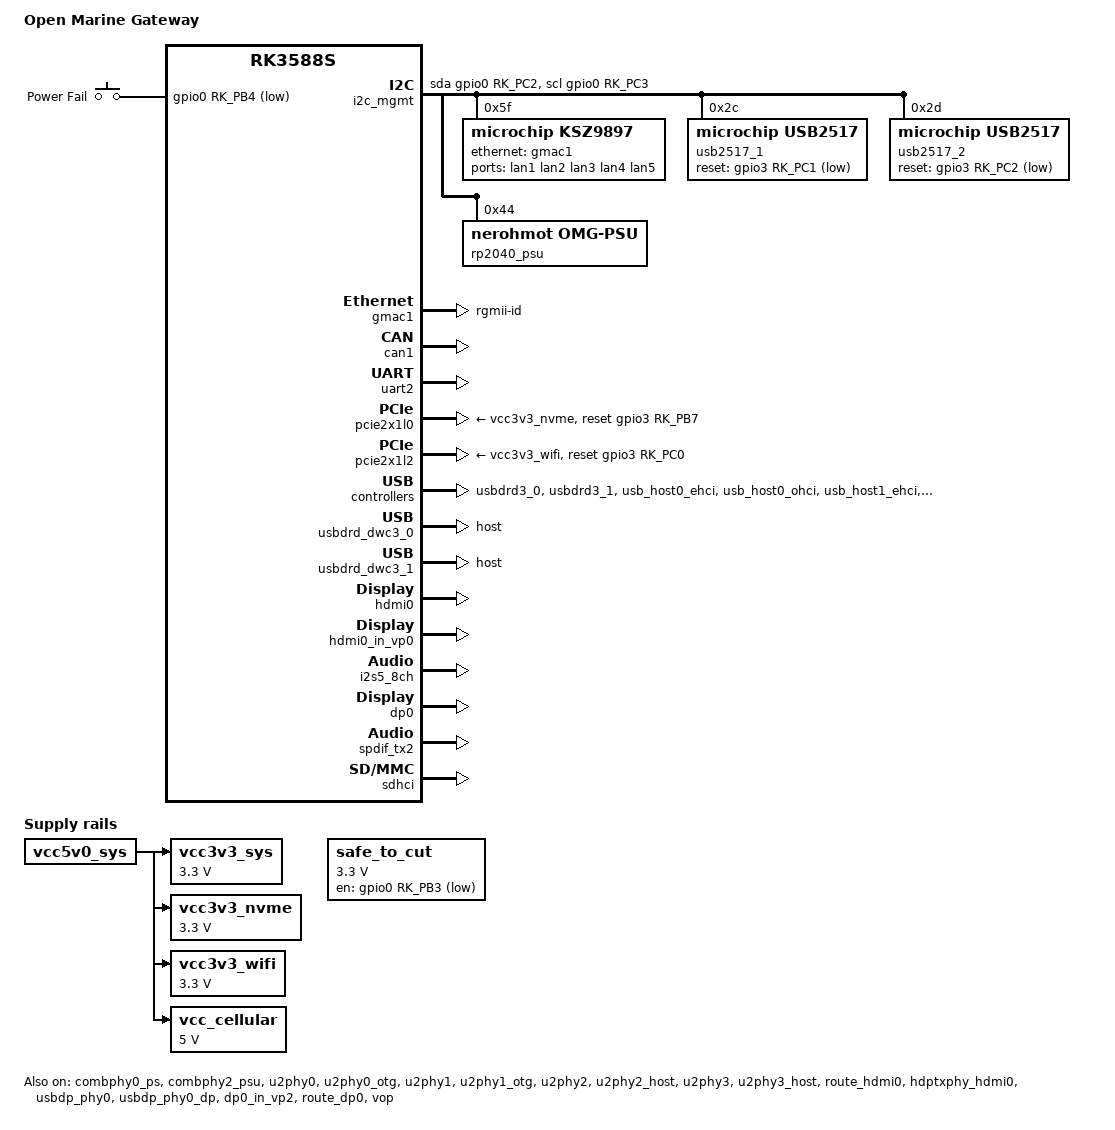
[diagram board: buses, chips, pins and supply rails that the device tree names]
// SPDX-License-Identifier: (GPL-2.0+ OR MIT)
/*
 * Device Tree Source for the Open Marine Gateway (OMG) board.
 * Based on the Radxa NX5 module (Rockchip RK3588S).
 *
 * Copyright (c) 2026 nerohmot
 *
 * TODO items (require final schematic sign-off):
 *   - Measure KSZ9897 board trace lengths to tune gmac1 RGMII TX/RX delay values
 */

/dts-v1/;

#include "rk3588s-radxa-nx5-module.dtsi"
#include <dt-bindings/display/rockchip_vop.h>
#include <dt-bindings/gpio/gpio.h>
#include <dt-bindings/pinctrl/rockchip.h>
#include <dt-bindings/input/input.h>

/ {
	model = "Open Marine Gateway";
	compatible = "nerohmot,omg", "radxa,nx5-module", "rockchip,rk3588s";

	aliases {
		ethernet0 = &gmac1;   /* KSZ9897 uplink (only GMAC in RK3588S) */
		serial2   = &uart2;   /* debug console  */
	};

	chosen {
		stdout-path = "serial2:115200n8";
	};

	/* ------------------------------------------------------------------ */
	/* Power supplies                                                       */
	/* ------------------------------------------------------------------ */

	vcc3v3_sys: vcc3v3-sys {
		compatible = "regulator-fixed";
		regulator-name = "vcc3v3_sys";
		regulator-always-on;
		regulator-boot-on;
		regulator-min-microvolt = <3300000>;
		regulator-max-microvolt = <3300000>;
		vin-supply = <&vcc5v0_sys>;
	};

	vcc3v3_nvme: vcc3v3-nvme {
		compatible = "regulator-fixed";
		regulator-name = "vcc3v3_nvme";
		regulator-always-on;
		regulator-boot-on;
		regulator-min-microvolt = <3300000>;
		regulator-max-microvolt = <3300000>;
		vin-supply = <&vcc5v0_sys>;
	};

	vcc3v3_wifi: vcc3v3-wifi {
		compatible = "regulator-fixed";
		regulator-name = "vcc3v3_wifi";
		regulator-always-on;
		regulator-boot-on;
		regulator-min-microvolt = <3300000>;
		regulator-max-microvolt = <3300000>;
		vin-supply = <&vcc5v0_sys>;
	};

	vcc_cellular: vcc-cellular {
		compatible = "regulator-fixed";
		regulator-name = "vcc_cellular";
		regulator-always-on;
		regulator-boot-on;
		regulator-min-microvolt = <5000000>;
		regulator-max-microvolt = <5000000>;
		vin-supply = <&vcc5v0_sys>;
	};

	/* ------------------------------------------------------------------ */
	/* Power-fail interrupt (RP2040 → NX5, GPIO0_B4, Pin 121)             */
	/* Triggers systemd power-off target when DC input is lost.           */
	/* ------------------------------------------------------------------ */

	gpio-keys {
		compatible = "gpio-keys";
		pinctrl-names = "default";
		pinctrl-0 = <&power_fail_int_pin>;

		power-fail {
			label = "Power Fail";
			gpios = <&gpio0 RK_PB4 GPIO_ACTIVE_LOW>;
			linux,code = <KEY_POWER>;
			wakeup-source;
			debounce-interval = <10>;
		};
	};

	/* ------------------------------------------------------------------ */
	/* Safe-to-cut output (NX5 → RP2040, GPIO0_B3, Pin 119)               */
	/* Driven HIGH by userspace (systemd shutdown unit) when it is safe   */
	/* for the RP2040 to kill the 5V_always rail.                         */
	/* ------------------------------------------------------------------ */

	safe-to-cut-hog {
		compatible = "regulator-fixed";
		regulator-name = "safe_to_cut";
		gpio = <&gpio0 RK_PB3 GPIO_ACTIVE_HIGH>;
		/* Default LOW (not safe). Userspace drives HIGH at shutdown. */
		regulator-min-microvolt = <3300000>;
		regulator-max-microvolt = <3300000>;
	};

	/* ------------------------------------------------------------------ */
	/* Display audio nodes                                                 */
	/* ------------------------------------------------------------------ */

	hdmi0_sound: hdmi0-sound {
		status = "okay";
		compatible = "rockchip,hdmi";
		rockchip,mclk-fs = <128>;
		rockchip,card-name = "rockchip-hdmi0";
		rockchip,cpu = <&i2s5_8ch>;
		rockchip,codec = <&hdmi0>;
		rockchip,jack-det;
	};

	dp0_sound: dp0-sound {
		status = "okay";
		compatible = "rockchip,hdmi";
		rockchip,mclk-fs = <512>;
		rockchip,card-name = "rockchip-hdmi1";
		rockchip,cpu = <&spdif_tx2>;
		rockchip,codec = <&dp0 1>;
		rockchip,jack-det;
	};

	/* ------------------------------------------------------------------ */
	/* Management I2C – bit-bang                                          */
	/* SCL: GPIO0_C3 (SODIMM Pin 140)   SDA: GPIO0_C2 (SODIMM Pin 142)  */
	/* GPIO0_C3/C2 are general-purpose GPIO; not a hardware I2C7 mux.   */
	/* Pull-ups: 2.2 kΩ to 3.3V on PCB.                                  */
	/* ------------------------------------------------------------------ */
	i2c_mgmt: i2c-mgmt {
		compatible = "i2c-gpio";
		sda-gpios = <&gpio0 RK_PC2 (GPIO_ACTIVE_HIGH | GPIO_OPEN_DRAIN)>;
		scl-gpios = <&gpio0 RK_PC3 (GPIO_ACTIVE_HIGH | GPIO_OPEN_DRAIN)>;
		i2c-gpio,delay-us = <5>;	/* ~100 kHz */
		#address-cells = <1>;
		#size-cells = <0>;

		/* Microchip KSZ9897 – 7-port Gigabit Switch, DSA               */
		ksz9897: ethernet-switch@5f {
			compatible = "microchip,ksz9897";
			reg = <0x5f>;

			ethernet-ports {
				#address-cells = <1>;
				#size-cells = <0>;

				port@0 {
					reg = <0>;
					label = "lan1";
					phy-mode = "internal";
				};
				port@1 {
					reg = <1>;
					label = "lan2";
					phy-mode = "internal";
				};
				port@2 {
					reg = <2>;
					label = "lan3";
					phy-mode = "internal";
				};
				port@3 {
					reg = <3>;
					label = "lan4";
					phy-mode = "internal";
				};
				port@4 {
					reg = <4>;
					label = "lan5";
					phy-mode = "internal";
				};
				/*
				 * KSZ9897 P6 (port@5) – MAC-only, no integrated PHY, left
				 * unconnected on v1 hardware.  5 downlink ports (lan1-lan5)
				 * are sufficient for the initial OMG design.
				 * If a 6th RJ45 port is ever needed, wire P6 via RGMII to
				 * an external PHY (e.g. TI DP83867IRPAP) and add:
				 *
				 *   port@5 {
				 *       reg = <5>;
				 *       label = "lan6";
				 *       phy-handle = <&lan6_phy>;
				 *       phy-mode = "rgmii-id";
				 *   };
				 *
				 * plus a matching mdio { lan6_phy: ethernet-phy@N { … }; }
				 * subnode inside ksz9897.
				 */
				/* CPU port – RGMII uplink to NX5 gmac1 */
				port@6 {
					reg = <6>;
					ethernet = <&gmac1>;
					phy-mode = "rgmii-id";
					fixed-link {
						speed = <1000>;
						full-duplex;
						pause;
					};
				};
			};

			};

		/* Microchip USB2517 – 7-port Industrial USB Hub #1 (cfg_sel0=GND) */
		usb2517_1: usb-hub@2c {
			compatible = "microchip,usb2517";
			reg = <0x2c>;
			reset-gpios = <&gpio3 RK_PC1 GPIO_ACTIVE_LOW>;
		};

		/* Microchip USB2517 – 7-port Industrial USB Hub #2 (cfg_sel0=3V3) */
		usb2517_2: usb-hub@2d {
			compatible = "microchip,usb2517";
			reg = <0x2d>;
			reset-gpios = <&gpio3 RK_PC2 GPIO_ACTIVE_LOW>;
		};

		/*
		 * RP2040 PSU supervisor.
		 * No upstream kernel driver; expose as a simple I2C device.
		 * A userspace daemon (omg-psu-daemon) handles the SCPI protocol.
		 */
		rp2040_psu: psu@44 {
			compatible = "nerohmot,omg-psu";
			reg = <0x44>;
		};
	};
};

/* ====================================================================== */
/* NETWORKING: KSZ9897 7-port Gigabit Switch (DSA via I2C)                */
/*                                                                         */
/* Physical connection: NX5 gmac1 ←RGMII→ KSZ9897 port 6 (CPU port)     */
/* Management:          bit-bang I2C (GPIO0_C3/C2), address 0x5F          */
/*                                                                         */
/* Note: RK3588S has only one GMAC (gmac1). The NX5 module DTSI configures*/
/* gmac1 for an onboard RTL8211F PHY that is not populated on the OMG     */
/* carrier board. We override that setup here to connect gmac1 RGMII to  */
/* the KSZ9897 switch CPU port instead.                                   */
/* ====================================================================== */

&gmac1 {
	status = "okay";
	phy-mode = "rgmii-id";
	clock_in_out = "output";
	pinctrl-names = "default";
	pinctrl-0 = <&gmac1_miim
	             &gmac1_tx_bus2
	             &gmac1_rx_bus2
	             &gmac1_rgmii_clk
	             &gmac1_rgmii_bus>;
	/* Remove onboard PHY properties added by the module DTSI */
	/delete-property/ phy-handle;
	/delete-property/ snps,reset-gpio;
	/delete-property/ snps,reset-active-low;
	/delete-property/ snps,reset-delays-us;
	/*
	 * TX/RX delays: tune against actual PCB trace lengths.
	 * Starting values from KSZ9897 reference design; validate with
	 * iperf3 + oscilloscope before finalising.
	 */
	tx-delay = <0x3c>;
	rx-delay = <0x00>;	/* rgmii-id: SoC adds both TX and RX delay */
};

/* ====================================================================== */
/* CAN / NMEA 2000 – TI ISO1050DUBR galvanically isolated transceiver     */
/* CAN1_TX_M1 → GPIO1_A1 (SODIMM Pin 118)                                */
/* CAN1_RX_M1 → GPIO1_A0 (SODIMM Pin 120)                                */
/* Bus side (VCC2) powered by N2K network 5V; LEN = 1.                   */
/* ====================================================================== */

&can1 {
	status = "okay";
	pinctrl-names = "default";
	pinctrl-0 = <&can1m1_pins>;
	assigned-clocks = <&cru CLK_CAN1>;
	assigned-clock-rates = <150000000>;
};

/* ====================================================================== */
/* UART2 – Debug console & RP2040 log monitor                             */
/* TX: GPIO0_B6 / UART2_TX_M0 (SODIMM Pin 123)                           */
/* RX: GPIO0_B5 / UART2_RX_M0 (SODIMM Pin 125)                           */
/* ====================================================================== */

&uart2 {
	status = "okay";
	pinctrl-names = "default";
	pinctrl-0 = <&uart2m0_xfer>;
};

/* ====================================================================== */
/* PCIe – M.2 M-Key Slot (NVMe SSD, PCIe 2.1 x1)                        */
/* PERST#: GPIO3_B7 → M.2 pin 22 (direct, no inverter needed).           */
/* GPIO_ACTIVE_HIGH: kernel value 0 → GPIO LOW → PERST# asserted;        */
/*                   kernel value 1 → GPIO HIGH → PERST# released.       */
/* ====================================================================== */

&combphy0_ps {
	status = "okay";
};

&pcie2x1l0 {
	status = "okay";
	vpcie3v3-supply = <&vcc3v3_nvme>;
	reset-gpios = <&gpio3 RK_PB7 GPIO_ACTIVE_HIGH>;
};

/* ====================================================================== */
/* PCIe – M.2 E-Key Slot (WiFi/BT, PCIe 2.1 x1 + USB2 for Bluetooth)    */
/* combphy2_psu provides PCIe SS for WiFi (Intel AX210).                  */
/* u2phy1 / usbdrd3_1 provide USB2 for the AX210 Bluetooth interface.    */
/* usbdp_phy0 is fully allocated to DisplayPort so OTG1 is USB2-only.    */
/* PERST#: GPIO3_C0 → M.2 pin 22 (direct, no inverter — same convention  */
/* as NX5 IO board which uses GPIO3_D1 for its PCIe WiFi reset).         */
/* ====================================================================== */

&combphy2_psu {
	status = "okay";
};

&pcie2x1l2 {
	status = "okay";
	vpcie3v3-supply = <&vcc3v3_wifi>;
	reset-gpios = <&gpio3 RK_PC0 GPIO_ACTIVE_HIGH>;
};

/* ====================================================================== */
/* USB – M.2 B-Key Slot (4G/5G Cellular modem, USB 2.0 High-Speed)       */
/*                                                                         */
/* combphy0_ps is consumed by NVMe PCIe; usbdp_phy0 is consumed by DP.   */
/* Therefore OTG0 has no SuperSpeed PHY and operates at USB 2.0 only     */
/* (480 Mbps), which is sufficient for 4G LTE (~150 Mbps peak).          */
/* ====================================================================== */

&u2phy0 {
	status = "okay";
};

&u2phy0_otg {
	status = "okay";
};

&usbdrd3_0 {
	status = "okay";
};

&usbdrd_dwc3_0 {
	status = "okay";
	dr_mode = "host";
	maximum-speed = "high-speed"; /* no SS PHY available; combphy0_ps→PCIe, usbdp_phy0→DP */
};

/* ====================================================================== */
/* USB – M.2 E-Key WiFi Bluetooth (USB 2.0 High-Speed via OTG1)           */
/*                                                                         */
/* usbdp_phy0 is fully in DisplayPort mode so OTG1 has no SS PHY.        */
/* u2phy1 provides standalone USB2 for the AX210 Bluetooth function.     */
/* ====================================================================== */

&u2phy1 {
	status = "okay";
};

&u2phy1_otg {
	status = "okay";
};

&usbdrd3_1 {
	status = "okay";
};

&usbdrd_dwc3_1 {
	status = "okay";
	dr_mode = "host";
	maximum-speed = "high-speed"; /* no SS PHY available; usbdp_phy0→DP */
};

/* ====================================================================== */
/* USB2 Host – feeds into USB2517 hub arrays                              */
/* u2phy2 → Hub #1 upstream → Legacy M.2 (port 1) + 6× external         */
/* u2phy3 → Hub #2 upstream → VectorE M.2 (port 1) + 6× external        */
/* ====================================================================== */

&u2phy2 {
	status = "okay";
};

&u2phy2_host {
	status = "okay";
};

&usb_host0_ehci {
	status = "okay";
};

&usb_host0_ohci {
	status = "okay";
};

&u2phy3 {
	status = "okay";
};

&u2phy3_host {
	status = "okay";
};

&usb_host1_ehci {
	status = "okay";
};

&usb_host1_ohci {
	status = "okay";
};

/* ====================================================================== */
/* Display – Primary: HDMI 2.1 (Chart Table, up to 8K@60Hz)              */
/* ====================================================================== */

&hdmi0 {
	status = "okay";
	cec-enable = "true";
};

&hdmi0_in_vp0 {
	status = "okay";
};

&route_hdmi0 {
	status = "okay";
};

&hdptxphy_hdmi0 {
	status = "okay";
};

&i2s5_8ch {
	status = "okay";
};

/* ====================================================================== */
/* Display – Secondary: DisplayPort 1.4 direct output (Cockpit)           */
/*                                                                         */
/* No onboard DP-to-HDMI bridge. Direct DP is used to support non-        */
/* standard cockpit panels (e.g. 1920×480 bar displays) whose custom      */
/* timings are incompatible with active bridge PLL tables. The display's  */
/* full EDID is honoured by the RK3588S VOP2 scaler directly.             */
/* If the cockpit screen is HDMI-only, use an external active DP→HDMI     */
/* adapter/cable (preserves full timing flexibility, no onboard driver).  */
/* ====================================================================== */

&usbdp_phy0 {
	status = "okay";
	rockchip,dp-lane-mux = <0 1 2 3>;
};

&usbdp_phy0_dp {
	status = "okay";
};

&dp0 {
	status = "okay";
};

&dp0_in_vp2 {
	status = "okay";
};

&route_dp0 {
	status = "okay";
	connect = <&vp2_out_dp0>;
};

&spdif_tx2 {
	status = "okay";
};

/* ====================================================================== */
/* VOP2 video output pipeline                                             */
/* vp0 → HDMI0 (primary display)                                         */
/* vp2 → DP0  (secondary display via bridge)                             */
/* ====================================================================== */

&vop {
	status = "okay";
};

&vop_mmu {
	status = "okay";
};

&vp0 {
	rockchip,plane-mask = <(1 << ROCKCHIP_VOP2_CLUSTER0 |
	                        1 << ROCKCHIP_VOP2_ESMART0)>;
	rockchip,primary-plane = <ROCKCHIP_VOP2_CLUSTER0>;
	cursor-win-id = <ROCKCHIP_VOP2_ESMART0>;
};

&vp2 {
	rockchip,plane-mask = <(1 << ROCKCHIP_VOP2_CLUSTER2 |
	                        1 << ROCKCHIP_VOP2_ESMART2)>;
	rockchip,primary-plane = <ROCKCHIP_VOP2_CLUSTER2>;
	cursor-win-id = <ROCKCHIP_VOP2_ESMART2>;
};

&display_subsystem {
	clocks = <&hdptxphy_hdmi0>;
	clock-names = "hdmi0_phy_pll";
};

/* ====================================================================== */
/* eMMC (on NX5 module)                                                   */
/* ====================================================================== */

&sdhci {
	status = "okay";
};

/* ====================================================================== */
/* Pin control                                                             */
/* ====================================================================== */

&pinctrl {
	omg-power {
		/* GPIO0_B4 – Power_Fail_Interrupt input from RP2040 (Pin 121) */
		power_fail_int_pin: power-fail-int-pin {
			rockchip,pins = <0 RK_PB4 RK_FUNC_GPIO &pcfg_pull_up>;
		};

		/* GPIO0_B3 – Safe_To_Cut_Power output to RP2040 (Pin 119) */
		safe_to_cut_pin: safe-to-cut-pin {
			rockchip,pins = <0 RK_PB3 RK_FUNC_GPIO &pcfg_pull_down>;
		};
	};

	omg-resets {
		/* GPIO3_B7 – NVMe M-Key PERST# (direct to M.2 pin 22, no inverter) */
		nvme_reset_pin: nvme-reset-pin {
			rockchip,pins = <3 RK_PB7 RK_FUNC_GPIO &pcfg_pull_none>;
		};

		/* GPIO3_C0 – WiFi E-Key PERST# (direct to M.2 pin 22, no inverter) */
		wifi_reset_pin: wifi-reset-pin {
			rockchip,pins = <3 RK_PC0 RK_FUNC_GPIO &pcfg_pull_none>;
		};

		/* GPIO3_C1 – USB2517 Hub #1 RESET# (active-low) */
		hub1_reset_pin: hub1-reset-pin {
			rockchip,pins = <3 RK_PC1 RK_FUNC_GPIO &pcfg_pull_up>;
		};

		/* GPIO3_C2 – USB2517 Hub #2 RESET# (active-low) */
		hub2_reset_pin: hub2-reset-pin {
			rockchip,pins = <3 RK_PC2 RK_FUNC_GPIO &pcfg_pull_up>;
		};
	};
};
